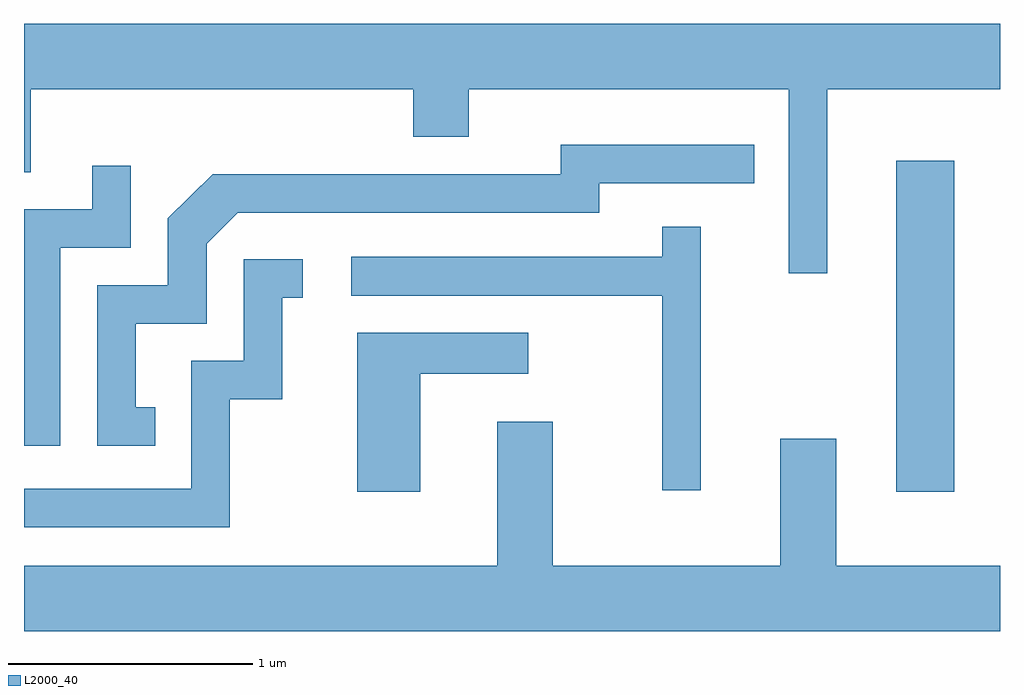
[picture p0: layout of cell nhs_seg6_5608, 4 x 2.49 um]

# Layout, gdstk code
import gdstk
lib = gdstk.Library(unit=1e-6, precision=1e-09)
def R(c, l, rs):  # rectangles x0, y0, x1, y1
    for r in rs: c.add(gdstk.rectangle(r[:2], r[2:], *l))
def P(c, l, *ps):  # polygons
    for p in ps: c.add(gdstk.Polygon(p, *l))
L2000_40 = (2000, 40)

nhs_seg6_5608 = lib.new_cell('nhs_seg6_5608')
R(nhs_seg6_5608, L2000_40, [(359.186,1601.666,359.424,1603.024)])
P(nhs_seg6_5608, L2000_40, [(358.904,1603.316),(359.611,1603.316),(359.611,1603.584),(355.611,1603.584),(355.611,1602.976),(355.639,1602.976),(355.639,1603.316),(357.206,1603.316),(357.206,1603.121),(357.434,1603.121),(357.434,1603.316),(358.746,1603.316),(358.746,1602.563),(358.904,1602.563)],
  [(356.148,1602.014),(356.069,1602.014),(356.069,1602.356),(356.359,1602.356),(356.359,1602.684),(356.487,1602.811),(357.969,1602.811),(357.969,1602.931),(358.603,1602.931),(358.603,1603.089),(357.811,1603.089),(357.811,1602.969),(356.384,1602.969),(356.201,1602.787),(356.201,1602.514),(355.911,1602.514),(355.911,1601.856),(356.148,1601.856)],
  [(355.759,1602.666),(356.049,1602.666),(356.049,1603.003),(355.891,1603.003),(355.891,1602.824),(355.611,1602.824),(355.611,1601.856),(355.759,1601.856)],
  [(358.384,1602.753),(358.226,1602.753),(358.226,1602.629),(356.953,1602.629),(356.953,1602.471),(358.226,1602.471),(358.226,1601.673),(358.384,1601.673)],
  [(356.454,1602.046),(356.669,1602.046),(356.669,1602.461),(356.753,1602.461),(356.753,1602.619),(356.511,1602.619),(356.511,1602.204),(356.296,1602.204),(356.296,1601.679),(355.611,1601.679),(355.611,1601.521),(356.454,1601.521)],
  [(357.234,1602.151),(357.678,1602.151),(357.678,1602.319),(356.976,1602.319),(356.976,1601.666),(357.234,1601.666)],
  [(359.611,1601.364),(358.939,1601.364),(358.939,1601.884),(358.711,1601.884),(358.711,1601.364),(357.779,1601.364),(357.779,1601.954),(357.551,1601.954),(357.551,1601.364),(355.611,1601.364),(355.611,1601.096),(359.611,1601.096)])

lib.write_gds('nhs_seg6_5608.gds')
